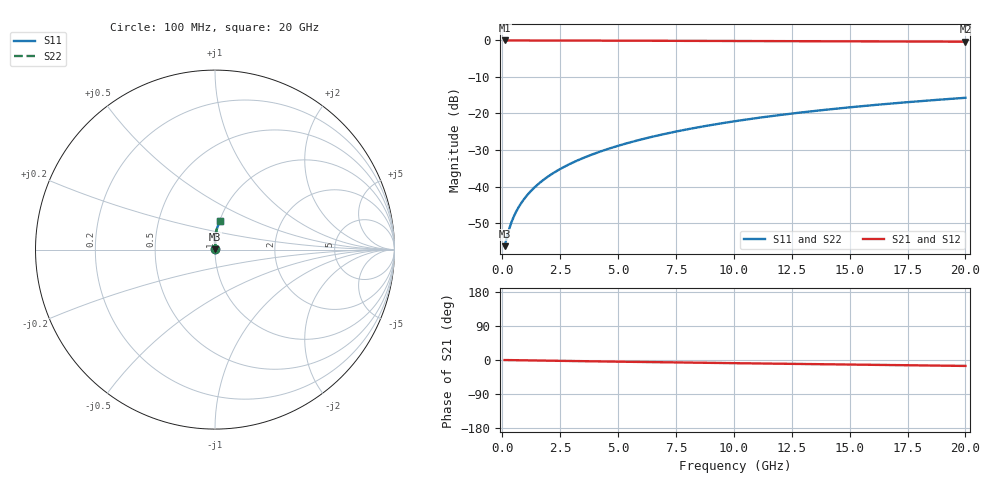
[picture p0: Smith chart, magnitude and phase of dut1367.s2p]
! Touchstone file exported from HFSS 2024.1.0
!  File:  C:/UserFiles/LocalFiles/RDL_TSV_Batchsim/temp_RDL_bottom_1367_1780370958.aedt
!  Generated:  11:32:06 AM Jun  2, 2026
!  Design:  RDL_bottom
!  Project:  temp_RDL_bottom_1367_1780370958
!  Setup:  Setup1
!  Solution:  Sweep
! Variables:
!  dtsv = 10.80580581um
!  hbump = 3um
!  htsv = 56.43um
!  ldown = 200.95um
!  lrdl = 100um
!  p = 40
!  p1 = 46.15um
!  rhole = 1um
!  t = 450um
!  tdown = 2.91um
!  trdl = 3.915915916um
!  wdown = 23.62um
!  wrdl = 20um
# GHz S MA R 50.000000
! Terminal data exported
! Port[1] = RDL1_T1
! Port[2] = RDL1_T2
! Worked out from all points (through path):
!   200 points, 100 MHz to 20 GHz, reference 50 ohm
!   highest |S21| = -0.01 dB at 100 MHz (marker M1); lowest = -0.3 dB at 20 GHz (marker M2)
!   group delay of S21, straight-line fit = 2.15 ps
!   lowest |S11| = -56.3 dB at 100 MHz (marker M3), VSWR 1.00, Z = 50.1 + j0.077 ohm
!   |S11| at or under -10 dB: start of sweep to end of sweep
!   |S22| runs from -56.3 to -15.7 dB; largest |S21 - S12| = 2e-15
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0.1  0.001529 30.2  0.9987 -0.1  0.9987 -0.1  0.001529 30.2
! Gamma 0 0 0 0
! Port Impedance 50 0 50 0
0.2  0.002042 47.9  0.9986 -0.2  0.9986 -0.2  0.002042 47.9
0.3  0.002648 57.5  0.9985 -0.3  0.9985 -0.3  0.002648 57.5
0.4  0.003277 63.3  0.9985 -0.4  0.9985 -0.4  0.003277 63.3
0.5  0.003911 67.3  0.9984 -0.5  0.9984 -0.5  0.003911 67.3
0.6  0.004548 70.3  0.9983 -0.6  0.9983 -0.6  0.004548 70.3
0.8  0.005834 74.5  0.9982 -0.7  0.9982 -0.7  0.005834 74.5
1.1  0.007795 78.6  0.998 -1.0  0.998 -1.0  0.007795 78.6
1.3  0.009124 80.5  0.9978 -1.2  0.9978 -1.2  0.009124 80.5
1.6  0.01115 82.6  0.9976 -1.5  0.9976 -1.5  0.01115 82.6
2.1  0.01459 85.0  0.997 -1.9  0.997 -1.9  0.01459 85.0
2.7  0.01882 86.9  0.9963 -2.4  0.9963 -2.4  0.01882 86.9
3.5  0.02465 88.4  0.995 -3.1  0.995 -3.1  0.02465 88.4
4.2  0.02992 89.2  0.9938 -3.7  0.9938 -3.7  0.02992 89.2
5  0.03613 89.8  0.9922 -4.4  0.9922 -4.4  0.03613 89.8
5.9  0.04333 90.0  0.9903 -5.1  0.9903 -5.1  0.04333 90.0
6.8  0.05072 90.0  0.9884 -5.9  0.9884 -5.9  0.05072 90.0
8.4  0.06422 89.3  0.9848 -7.1  0.9848 -7.1  0.06422 89.3
10.1  0.07887 88.3  0.9811 -8.4  0.9811 -8.4  0.07887 88.3
13.4  0.1076 85.6  0.9742 -10.9  0.9742 -10.9  0.1076 85.6
16.7  0.1361 82.7  0.9674 -13.3  0.9674 -13.3  0.1361 82.7
20  0.164 79.8  0.9607 -15.7  0.9607 -15.7  0.164 79.8
